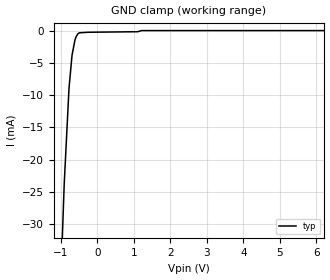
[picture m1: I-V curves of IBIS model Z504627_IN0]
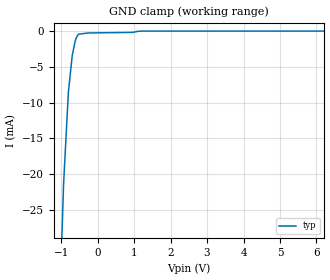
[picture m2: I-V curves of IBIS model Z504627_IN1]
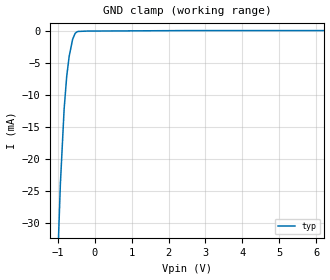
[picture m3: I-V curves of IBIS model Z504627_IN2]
| YOU ARE ONLY AUTHORIZED TO USE THIS SOFTWARE
| ACCORDING TO LICENSOR'S LICENSE RESTRICTIONS.
[IBIS Ver] 3.1
[File Name] sn74ls259d.ibs
[File Rev] 2.0
[Source] Measured and created by ICX Technology
[Date] Friday 7/14/00 9:08:19 AM
[Copyright]
| (C) COPYRIGHT 1993-2000
| MENTOR GRAPHICS CORPORATION
| ICX STANDARD LIBRARY, ICX PROJECT MODELING,
| ICX CUSTOM MODELING, ICX VENDOR MODEL
| ALL RIGHTS RESERVED.
| THE FOLLOWING ARE TRADEMARKS OR SERVICE MARKS OF
| MENTOR GRAPHICS CORPORATION:ICX (R), ICX STANDARD
| LIBRARY(R), ICX PROJECT MODELING(R), ICX CUSTOM
| MODELING(R), qualityIBIS(TM), MODELVIEWER(TM),
| AND MODELEDITOR(TM)
| ALL COPIES OF SOFTWARE, INCLUDING BUT NOT LIMITED TO
| ANY MODIFICATIONS, ENHANCEMENTS OR DERIVATIVE WORKS,
| MUST CONTAIN ALL MENTOR GRAPHICS CORPORATION'S
| NOTICES AND LEGENDS, INCLUDING THOSE EMBEDDED IN
| SOFTWARE AND THOSE AFFIXED TO SOFTWARE MEDIUM
| AND CONTAINER, AS RECEIVED FROM MENTOR GRAPHICS
| CORPORATION.
|  ZAP Model Builder 2.7
[Component] SN74LS259D
[Manufacturer] OnSemiconductor
[Package]
| variable   typ   min   max
R_pkg  .156ohms NA NA
L_pkg  3.148nH NA NA
C_pkg  .388pF NA NA
[Pin] signal_name  model_name  R_pin  L_pin C_pin
1 S0 Z504627_IN0 .162 3.798n .418p
2 S1 Z504627_IN0 .158 3.358n .398p
3 S2 Z504627_IN0 .154 2.928n .378p
4 Q0 Z504627_OUT .15 2.508n .358p
5 Q1 Z504627_OUT .15 2.508n .358p
6 Q2 Z504627_OUT .154 2.928n .378p
7 Q3 Z504627_OUT .158 3.358n .398p
8 GROUND GND .162 3.798n .418p
9 Q4 Z504627_OUT .162 3.798n .418p
10 Q5 Z504627_OUT .158 3.358n .398p
11 Q6 Z504627_OUT .154 2.928n .378p
12 Q7 Z504627_OUT .15 2.508n .358p
13 D Z504627_IN1 .15 2.508n .358p
14 _G Z504627_IN2 .154 2.928n .378p
15 _CLR Z504627_IN3 .158 3.358n .398p
16 VCC POWER .162 3.798n .418p
| Models and submodels in the file (5): Z504627_IN0 (Input), Z504627_IN1 (Input), Z504627_IN2 (Input), Z504627_IN3 (Input), Z504627_OUT (Output)
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| (C) COPYRIGHT 1993-2000
| MENTOR GRAPHICS CORPORATION
| ICX STANDARD LIBRARY, ICX PROJECT MODELING,
| ICX CUSTOM MODELING, ICX VENDOR MODEL
| ALL RIGHTS RESERVED.
| THE FOLLOWING ARE TRADEMARKS OR SERVICE MARKS OF
| MENTOR GRAPHICS CORPORATION:ICX (R), ICX STANDARD
| LIBRARY(R), ICX PROJECT MODELING(R), ICX CUSTOM
| MODELING(R), qualityIBIS(TM), MODELVIEWER(TM),
| AND MODELEDITOR(TM)
| ALL COPIES OF SOFTWARE, INCLUDING BUT NOT LIMITED TO
| ANY MODIFICATIONS, ENHANCEMENTS OR DERIVATIVE WORKS,
| MUST CONTAIN ALL MENTOR GRAPHICS CORPORATION'S
| NOTICES AND LEGENDS, INCLUDING THOSE EMBEDDED IN
| SOFTWARE AND THOSE AFFIXED TO SOFTWARE MEDIUM
| AND CONTAINER, AS RECEIVED FROM MENTOR GRAPHICS
| CORPORATION.
| Model Application Version 1.89 2/18/99.
[Model] Z504627_IN0
Model_type Input
Vinl = 800.0mV
Vinh = 2.000V
C_comp 4.000pF NA NA
| variable typ   min   max
[Voltage Range] 5.000V NA NA
[GND Clamp Reference] 0.000V NA NA
[POWER Clamp Reference] 5.000V NA NA
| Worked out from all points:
|   GND clamp passes 1 mA (typ) near -0.58 V on its own axis
[GND Clamp]
-5V       -683mA     NA         NA
-907.8mV  -23.81mA   NA         NA
-776.4mV  -8.96mA    NA         NA
-693.1mV  -3.81mA    NA         NA
-614mV    -1.481mA   NA         NA
-580.9mV  -939.4uA   NA         NA
-527.3mV  -459.1uA   NA         NA
-483.4mV  -336.8uA   NA         NA
-241.7mV  -262.6uA   NA         NA
1.108V    -176.6uA   NA         NA
1.208V    -1.414uA   NA         NA
10V       -1.414uA   NA         NA
[POWER Clamp]
-5V       0A         NA         NA
10V       0A         NA         NA
| (C) COPYRIGHT 1993-2000
| MENTOR GRAPHICS CORPORATION
| ICX STANDARD LIBRARY, ICX PROJECT MODELING,
| ICX CUSTOM MODELING, ICX VENDOR MODEL
| ALL RIGHTS RESERVED.
| THE FOLLOWING ARE TRADEMARKS OR SERVICE MARKS OF
| MENTOR GRAPHICS CORPORATION:ICX (R), ICX STANDARD
| LIBRARY(R), ICX PROJECT MODELING(R), ICX CUSTOM
| MODELING(R), qualityIBIS(TM), MODELVIEWER(TM),
| AND MODELEDITOR(TM)
| ALL COPIES OF SOFTWARE, INCLUDING BUT NOT LIMITED TO
| ANY MODIFICATIONS, ENHANCEMENTS OR DERIVATIVE WORKS,
| MUST CONTAIN ALL MENTOR GRAPHICS CORPORATION'S
| NOTICES AND LEGENDS, INCLUDING THOSE EMBEDDED IN
| SOFTWARE AND THOSE AFFIXED TO SOFTWARE MEDIUM
| AND CONTAINER, AS RECEIVED FROM MENTOR GRAPHICS
| CORPORATION.
| Model Application Version 1.89 2/18/99.
[Model] Z504627_IN1
Model_type Input
Vinl = 800.0mV
Vinh = 2.000V
C_comp 4.000pF NA NA
| variable typ   min   max
[Voltage Range] 5.000V NA NA
[GND Clamp Reference] 0.000V NA NA
[POWER Clamp Reference] 5.000V NA NA
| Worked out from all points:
|   GND clamp passes 1 mA (typ) near -0.59 V on its own axis
[GND Clamp]
-5V       -667.4mA   NA         NA
-932.5mV  -21.38mA   NA         NA
-800.7mV  -8.521mA   NA         NA
-694.9mV  -3.394mA   NA         NA
-614.9mV  -1.395mA   NA         NA
-581mV    -888.5uA   NA         NA
-527.3mV  -443.1uA   NA         NA
-263.7mV  -263.6uA   NA         NA
971.5mV   -180.9uA   NA         NA
1.104V    -35.32uA   NA         NA
1.227V    -338.5nA   NA         NA
10V       -338.5nA   NA         NA
[POWER Clamp]
-5V       0A         NA         NA
10V       0A         NA         NA
| (C) COPYRIGHT 1993-2000
| MENTOR GRAPHICS CORPORATION
| ICX STANDARD LIBRARY, ICX PROJECT MODELING,
| ICX CUSTOM MODELING, ICX VENDOR MODEL
| ALL RIGHTS RESERVED.
| THE FOLLOWING ARE TRADEMARKS OR SERVICE MARKS OF
| MENTOR GRAPHICS CORPORATION:ICX (R), ICX STANDARD
| LIBRARY(R), ICX PROJECT MODELING(R), ICX CUSTOM
| MODELING(R), qualityIBIS(TM), MODELVIEWER(TM),
| AND MODELEDITOR(TM)
| ALL COPIES OF SOFTWARE, INCLUDING BUT NOT LIMITED TO
| ANY MODIFICATIONS, ENHANCEMENTS OR DERIVATIVE WORKS,
| MUST CONTAIN ALL MENTOR GRAPHICS CORPORATION'S
| NOTICES AND LEGENDS, INCLUDING THOSE EMBEDDED IN
| SOFTWARE AND THOSE AFFIXED TO SOFTWARE MEDIUM
| AND CONTAINER, AS RECEIVED FROM MENTOR GRAPHICS
| CORPORATION.
| Model Application Version 1.89 2/18/99.
[Model] Z504627_IN2
Model_type Input
Vinl = 800.0mV
Vinh = 2.000V
C_comp 4.000pF NA NA
| variable typ   min   max
[Voltage Range] 5.000V NA NA
[GND Clamp Reference] 0.000V NA NA
[POWER Clamp Reference] 5.000V NA NA
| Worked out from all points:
|   GND clamp passes 1 mA (typ) near -0.57 V on its own axis
[GND Clamp]
-5V       -699.3mA   NA         NA
-927.1mV  -23.95mA   NA         NA
-825.2mV  -12.21mA   NA         NA
-755.9mV  -7.159mA   NA         NA
-688.9mV  -4.004mA   NA         NA
-595.7mV  -1.35mA    NA         NA
-527.3mV  -429uA     NA         NA
-483.8mV  -212.9uA   NA         NA
-448.1mV  -130.3uA   NA         NA
-224.1mV  -71.06uA   NA         NA
2.522V    7.547uA    NA         NA
10V       7.547uA    NA         NA
[POWER Clamp]
-5V       0A         NA         NA
10V       0A         NA         NA
